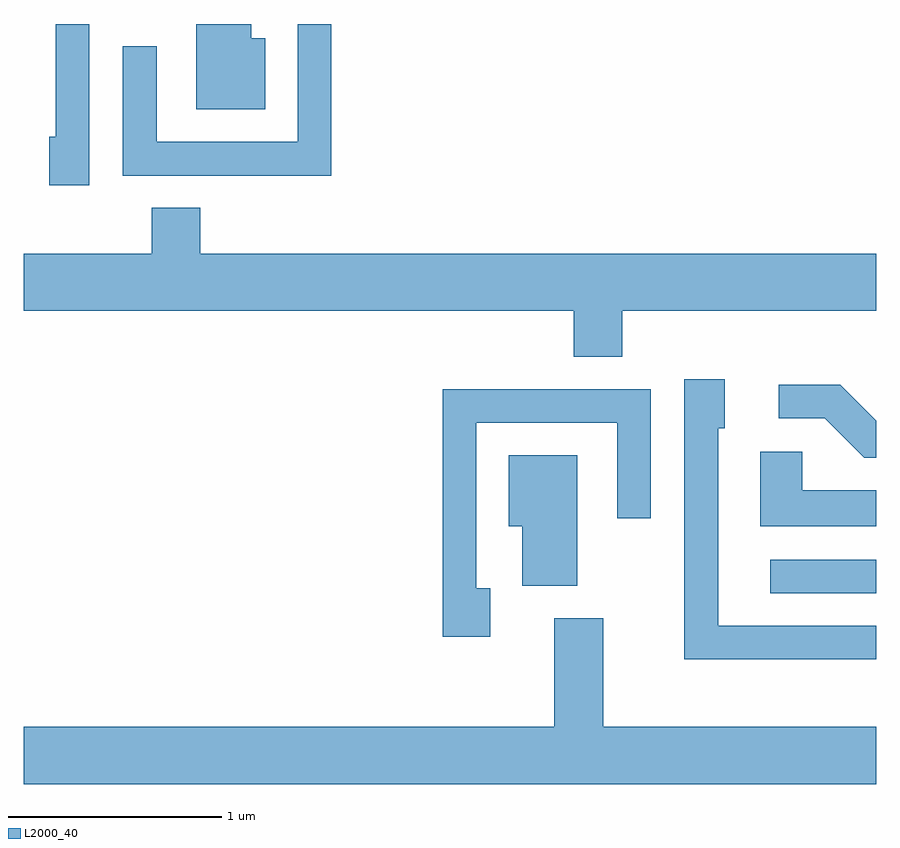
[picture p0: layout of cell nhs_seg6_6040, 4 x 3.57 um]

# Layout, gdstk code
import gdstk
lib = gdstk.Library(unit=1e-6, precision=1e-09)
def R(c, l, rs):  # rectangles x0, y0, x1, y1
    for r in rs: c.add(gdstk.rectangle(r[:2], r[2:], *l))
def P(c, l, *ps):  # polygons
    for p in ps: c.add(gdstk.Polygon(p, *l))
L2000_40 = (2000, 40)

nhs_seg6_6040 = lib.new_cell('nhs_seg6_6040')
R(nhs_seg6_6040, L2000_40, [(371.113,1657.491,371.611,1657.649)])
P(nhs_seg6_6040, L2000_40, [(369.054,1660.162),(368.896,1660.162),(368.896,1659.609),(368.234,1659.609),(368.234,1660.058),(368.076,1660.058),(368.076,1659.451),(369.054,1659.451)],
  [(367.919,1660.162),(367.761,1660.162),(367.761,1659.634),(367.731,1659.634),(367.731,1659.406),(367.919,1659.406)],
  [(368.744,1660.094),(368.679,1660.094),(368.679,1660.162),(368.421,1660.162),(368.421,1659.761),(368.744,1659.761)],
  [(370.419,1658.816),(371.611,1658.816),(371.611,1659.084),(368.439,1659.084),(368.439,1659.299),(368.211,1659.299),(368.211,1659.084),(367.611,1659.084),(367.611,1658.816),(370.191,1658.816),(370.191,1658.601),(370.419,1658.601)],
  [(371.611,1657.339),(370.869,1657.339),(370.869,1658.266),(370.899,1658.266),(370.899,1658.494),(370.711,1658.494),(370.711,1657.181),(371.611,1657.181)],
  [(371.611,1658.3),(371.442,1658.469),(371.153,1658.469),(371.153,1658.311),(371.369,1658.311),(371.554,1658.126),(371.611,1658.126)],
  [(369.799,1657.514),(369.734,1657.514),(369.734,1658.291),(370.396,1658.291),(370.396,1657.843),(370.554,1657.843),(370.554,1658.449),(369.576,1658.449),(369.576,1657.286),(369.799,1657.286)],
  [(371.611,1657.974),(371.264,1657.974),(371.264,1658.154),(371.066,1658.154),(371.066,1657.806),(371.611,1657.806)],
  [(370.209,1658.139),(369.886,1658.139),(369.886,1657.806),(369.951,1657.806),(369.951,1657.526),(370.209,1657.526)],
  [(371.611,1656.864),(370.329,1656.864),(370.329,1657.374),(370.101,1657.374),(370.101,1656.864),(367.611,1656.864),(367.611,1656.596),(371.611,1656.596)])

lib.write_gds('nhs_seg6_6040.gds')
